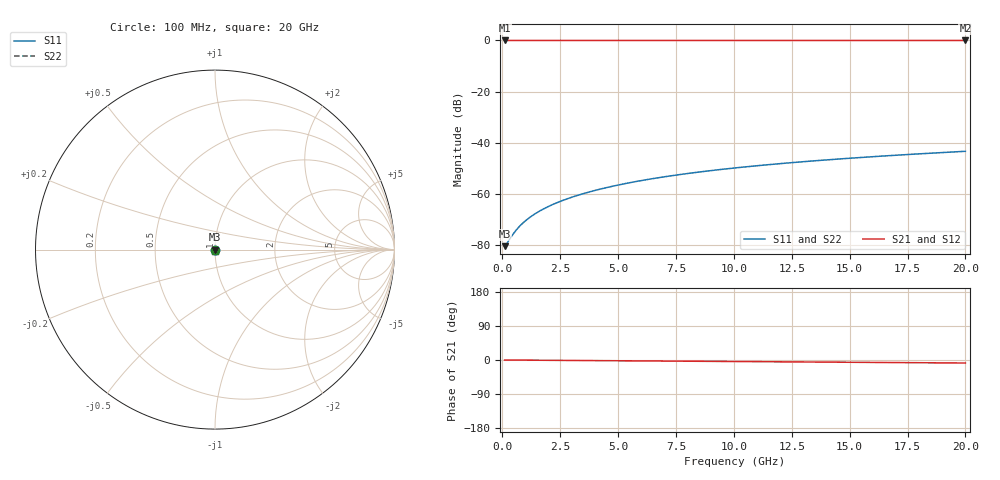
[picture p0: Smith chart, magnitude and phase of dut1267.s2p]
! Touchstone file exported from HFSS 2026.1.0
!  File:  C:/ffzhzh/LocalFiles/Ansys_Project_Files/temp_train_TSV_1267_1783194033_55132.aedt
!  Generated:  03:41:56 AM Jul  5, 2026
!  Design:  TSV
!  Project:  temp_train_TSV_1267_1783194033_55132
! Variables:
!  h_bsmrdl = 2um
!  h_ox = 20um
!  h_rdl = 5um
!  h_sub = 79.38um
!  h_tmrdl = 5um
!  h_tsv = 79.38um
!  h_via = 3um
!  l_bsmrdl = 300um
!  l_sub = 424.46um
!  l_tmrdl = 200um
!  m_sub = 200um
!  pitch = 46.65um
!  r_tsv = 12.23um
!  s_tmrdl = 10um
!  w_bsmrdl = 18um
!  w_sub = 500um
!  w_tmrdl = 12um
!  x_tsv_center1 = 206um
!  x_tsv_center2 = 524um
!  x_tsv_center3 = 736um
!  x_tsv_center4 = 1054um
!  x_tsv_center5 = 1266um
!  x_tsv_center6 = 1584um
# GHz S MA R 50.000000
! Terminal data exported
! Port[1] = TSV1_1_T1
! Port[2] = TSV1_1_T2
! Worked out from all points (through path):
!   200 points, 100 MHz to 20 GHz, reference 50 ohm
!   highest |S21| = 0.00 dB at 100 MHz (marker M1); lowest = 0.0 dB at 20 GHz (marker M2)
!   group delay of S21, straight-line fit = 1.1 ps
!   lowest |S11| = -80.4 dB at 100 MHz (marker M3), VSWR 1.00, Z = 50 + j0.000817 ohm
!   |S11| at or under -10 dB: start of sweep to end of sweep
!   |S22| runs from -80.4 to -43.3 dB; largest |S21 - S12| = 3.2e-15
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0.1  9.498e-05 4.9  0.9999 -0.0  0.9999 -0.0  9.498e-05 4.9
! Gamma 0 0 0 0
! Port Impedance 50 0 50 0
0.2  0.000108 7.0  0.9999 -0.1  0.9999 -0.1  0.000108 7.0
0.5  0.0001715 -2.3  0.9998 -0.2  0.9998 -0.2  0.0001715 -2.3
0.6  0.0001958 -7.4  0.9998 -0.2  0.9998 -0.2  0.0001958 -7.4
0.8  0.0002461 -17.2  0.9998 -0.3  0.9998 -0.3  0.0002461 -17.2
0.9  0.0002718 -21.7  0.9997 -0.4  0.9997 -0.4  0.0002718 -21.7
1.1  0.000324 -29.5  0.9997 -0.4  0.9997 -0.4  0.000324 -29.5
1.4  0.0004039 -38.6  0.9997 -0.6  0.9997 -0.6  0.0004039 -38.6
1.8  0.0005135 -47.2  0.9996 -0.7  0.9996 -0.7  0.0005135 -47.2
2.3  0.0006548 -54.4  0.9996 -0.9  0.9996 -0.9  0.0006548 -54.4
2.9  0.0008303 -60.1  0.9996 -1.2  0.9996 -1.2  0.0008303 -60.1
3.5  0.001012 -63.9  0.9995 -1.4  0.9995 -1.4  0.001012 -63.9
4.2  0.001231 -67.2  0.9995 -1.7  0.9995 -1.7  0.001231 -67.2
5  0.001489 -70.0  0.9994 -2.0  0.9994 -2.0  0.001489 -70.0
5.9  0.001787 -72.4  0.9994 -2.4  0.9994 -2.4  0.001787 -72.4
6.8  0.002091 -74.4  0.9993 -2.7  0.9993 -2.7  0.002091 -74.4
8.3  0.002606 -77.1  0.9993 -3.3  0.9993 -3.3  0.002606 -77.1
10.1  0.003235 -79.7  0.9992 -4.0  0.9992 -4.0  0.003235 -79.7
11.7  0.003799 -81.6  0.9991 -4.7  0.9991 -4.7  0.003799 -81.6
13.4  0.004404 -83.3  0.9991 -5.3  0.9991 -5.3  0.004404 -83.3
16.7  0.005592 -86.1  0.999 -6.7  0.999 -6.7  0.005592 -86.1
20  0.006806 -88.4  0.9988 -8.0  0.9988 -8.0  0.006806 -88.4
